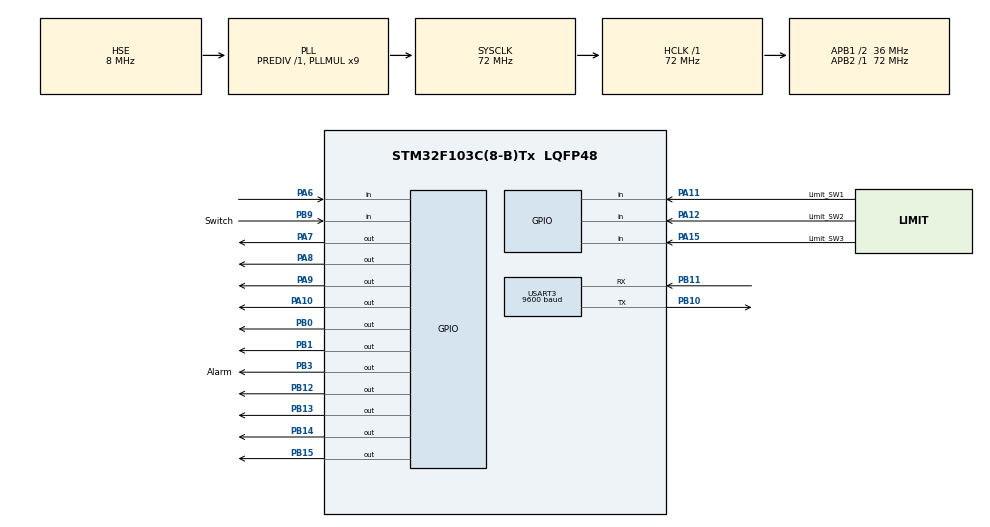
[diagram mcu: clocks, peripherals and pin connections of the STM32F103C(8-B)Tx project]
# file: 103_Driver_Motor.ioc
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FREERTOS.Tasks01=defaultTask,0,128,StartDefaultTask,Default,NULL,Dynamic,NULL,NULL
Mcu.Family=STM32F1
Mcu.Name=STM32F103C(8-B)Tx
Mcu.Package=LQFP48
NVIC.PriorityGroup=NVIC_PRIORITYGROUP_4
PA10.Signal=GPIO_Output
PA11.GPIO_Label=Limit_SW1
PA11.GPIO_PuPd=GPIO_PULLUP
PA11.Signal=GPIO_Input
PA12.GPIO_Label=Limit_SW2
PA12.GPIO_PuPd=GPIO_PULLUP
PA12.Signal=GPIO_Input
PA13.Mode=Serial_Wire
PA13.Signal=SYS_JTMS-SWDIO
PA14.Mode=Serial_Wire
PA14.Signal=SYS_JTCK-SWCLK
PA15.GPIO_Label=Limit_SW3
PA15.GPIO_PuPd=GPIO_PULLUP
PA15.Signal=GPIO_Input
PA6.Signal=GPIO_Input
PA7.Signal=GPIO_Output
PA8.Signal=GPIO_Output
PA9.Signal=GPIO_Output
PB0.Signal=GPIO_Output
PB1.Signal=GPIO_Output
PB10.Mode=Asynchronous
PB10.Signal=USART3_TX
PB11.Mode=Asynchronous
PB11.Signal=USART3_RX
PB12.Signal=GPIO_Output
PB13.Signal=GPIO_Output
PB14.Signal=GPIO_Output
PB15.Signal=GPIO_Output
PB3.GPIO_Label=Alarm
PB3.Signal=GPIO_Output
PB9.GPIO_Label=Switch
PB9.Signal=GPIO_Input
PD0-OSC_IN.Mode=HSE-External-Oscillator
PD0-OSC_IN.Signal=RCC_OSC_IN
PD1-OSC_OUT.Mode=HSE-External-Oscillator
PD1-OSC_OUT.Signal=RCC_OSC_OUT
ProjectManager.HeapSize=0x200
ProjectManager.StackSize=0x400
ProjectManager.TargetToolchain=STM32CubeIDE
RCC.AHBFreq_Value=72000000
RCC.APB1CLKDivider=RCC_HCLK_DIV2
RCC.APB1Freq_Value=36000000
RCC.APB1TimFreq_Value=72000000
RCC.APB2Freq_Value=72000000
RCC.APB2TimFreq_Value=72000000
RCC.HCLKFreq_Value=72000000
RCC.PLLMUL=RCC_PLL_MUL9
RCC.PLLSourceVirtual=RCC_PLLSOURCE_HSE
RCC.SYSCLKFreq_VALUE=72000000
RCC.SYSCLKSource=RCC_SYSCLKSOURCE_PLLCLK
RCC.USBFreq_Value=72000000
USART3.BaudRate=9600
USART3.VirtualMode=VM_ASYNC
VP_FREERTOS_VS_CMSIS_V1.Mode=CMSIS_V1
board=custom

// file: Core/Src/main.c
/* USER CODE BEGIN Header */
/**
  ******************************************************************************
  * @file           : main.c
  * @brief          : Main program body
  ******************************************************************************
  * @attention
  *
  * Copyright (c) 2023 STMicroelectronics.
  * All rights reserved.
  *
  * This software is licensed under terms that can be found in the LICENSE file
  * in the root directory of this software component.
  * If no LICENSE file comes with this software, it is provided AS-IS.
  *
  ******************************************************************************
  */
/* USER CODE END Header */
#include "main.h"
#include "cmsis_os.h"

/* USER CODE BEGIN Includes */
#include <stdio.h>
#include <string.h>
#include "FreeRTOS.h"
#include "task.h"
#include "semphr.h"
/* USER CODE END Includes */

/* USER CODE BEGIN PTD */
#define MOTOR_EN_GPIO_PIN  GPIO_PIN_7
#define MOTOR_EN_GPIO_PORT GPIOA
#define MOTOR_IN1_GPIO_PIN GPIO_PIN_1
#define MOTOR_IN1_GPIO_PORT GPIOB
#define MOTOR_IN2_GPIO_PIN GPIO_PIN_0
#define MOTOR_IN2_GPIO_PORT GPIOB
#define PWM_FREQUENCY 1000 // 1 kHz
#define PWM_PERIOD    100  // 100 us
/* USER CODE END PTD */

UART_HandleTypeDef huart3;

osThreadId defaultTaskHandle;
/* USER CODE BEGIN PV */
SemaphoreHandle_t xSemaphore1;
SemaphoreHandle_t xSemaphore2;
SemaphoreHandle_t xSemaphore3;
uint8_t limitSW_State_Open;
uint8_t limitSW_State_Close;
/* USER CODE END PV */

void SystemClock_Config(void);
static void MX_GPIO_Init(void);
static void MX_USART3_UART_Init(void);
void StartDefaultTask(void const * argument);

/* USER CODE BEGIN PFP */
void HAL_UART_Read_String(UART_HandleTypeDef *huart, char *str, uint8_t size);
void BT_RX(void *pvParameters);
void EN_Motor(void *pvParameters);
void Moving(void *pvParameters);
/* USER CODE END PFP */

/* USER CODE BEGIN 0 */
char message_rx[20];
char message_tx[20];
/* USER CODE END 0 */

int main(void)
{

  /* MCU Configuration--------------------------------------------------------*/

  /* Reset of all peripherals, Initializes the Flash interface and the Systick. */
  HAL_Init();

  /* Configure the system clock */
  SystemClock_Config();

  /* Initialize all configured peripherals */
  MX_GPIO_Init();
  MX_USART3_UART_Init();
  /* USER CODE BEGIN 2 */
  // Configure motor control pins as GPIO outputs
    GPIO_InitTypeDef GPIO_InitStruct;
    __HAL_RCC_GPIOA_CLK_ENABLE(); // Enable GPIOA clock
    GPIO_InitStruct.Pin = MOTOR_EN_GPIO_PIN | MOTOR_IN1_GPIO_PIN | MOTOR_IN2_GPIO_PIN;
    GPIO_InitStruct.Mode = GPIO_MODE_OUTPUT_PP;
    GPIO_InitStruct.Pull = GPIO_NOPULL;
    GPIO_InitStruct.Speed = GPIO_SPEED_FREQ_LOW;
    HAL_GPIO_Init(MOTOR_EN_GPIO_PORT, &GPIO_InitStruct);

    // 7 segments
    HAL_GPIO_WritePin(GPIOA, GPIO_PIN_10, 1);
    HAL_GPIO_WritePin(GPIOA, GPIO_PIN_9, 0);
    HAL_GPIO_WritePin(GPIOA, GPIO_PIN_8, 0);
    HAL_GPIO_WritePin(GPIOB, GPIO_PIN_12, 1);
    HAL_GPIO_WritePin(GPIOB, GPIO_PIN_13, 1);
    HAL_GPIO_WritePin(GPIOB, GPIO_PIN_14, 1);
    HAL_GPIO_WritePin(GPIOB, GPIO_PIN_15, 1);
  /* USER CODE END 2 */

  /* USER CODE BEGIN RTOS_SEMAPHORES */
  /* add semaphores, ... */
    xSemaphore1 = xSemaphoreCreateBinary();
    xSemaphore2 = xSemaphoreCreateBinary();
    xSemaphore3 = xSemaphoreCreateBinary();
    xSemaphoreGive(xSemaphore1);
  /* USER CODE END RTOS_SEMAPHORES */

  /* Create the thread(s) */
  /* definition and creation of defaultTask */
  osThreadDef(defaultTask, StartDefaultTask, osPriorityNormal, 0, 128);
  defaultTaskHandle = osThreadCreate(osThread(defaultTask), NULL);

  /* USER CODE BEGIN RTOS_THREADS */
  /* add threads, ... */
  xTaskCreate((void *)BT_RX, "BT_RX", configMINIMAL_STACK_SIZE, NULL, tskIDLE_PRIORITY + 1, NULL);
  xTaskCreate((void *)EN_Motor, "EN_Motor", configMINIMAL_STACK_SIZE, NULL, tskIDLE_PRIORITY + 1, NULL);
  xTaskCreate((void *)Moving, "Moving", configMINIMAL_STACK_SIZE, NULL, tskIDLE_PRIORITY + 1, NULL);
  vTaskStartScheduler();
  /* USER CODE END RTOS_THREADS */

  /* Start scheduler */
  //osKernelStart();
  /* We should never get here as control is now taken by the scheduler */
  /* Infinite loop */
  while (1)
  {

  }
}

void SystemClock_Config(void)
{
  RCC_OscInitTypeDef RCC_OscInitStruct = {0};
  RCC_ClkInitTypeDef RCC_ClkInitStruct = {0};

  /** Initializes the RCC Oscillators according to the specified parameters
  * in the RCC_OscInitTypeDef structure.
  */
  RCC_OscInitStruct.OscillatorType = RCC_OSCILLATORTYPE_HSE;
  RCC_OscInitStruct.HSEState = RCC_HSE_ON;
  RCC_OscInitStruct.HSEPredivValue = RCC_HSE_PREDIV_DIV1;
  RCC_OscInitStruct.HSIState = RCC_HSI_ON;
  RCC_OscInitStruct.PLL.PLLState = RCC_PLL_ON;
  RCC_OscInitStruct.PLL.PLLSource = RCC_PLLSOURCE_HSE;
  RCC_OscInitStruct.PLL.PLLMUL = RCC_PLL_MUL9;
  if (HAL_RCC_OscConfig(&RCC_OscInitStruct) != HAL_OK)
  {
    Error_Handler();
  }

  /** Initializes the CPU, AHB and APB buses clocks
  */
  RCC_ClkInitStruct.ClockType = RCC_CLOCKTYPE_HCLK|RCC_CLOCKTYPE_SYSCLK
                              |RCC_CLOCKTYPE_PCLK1|RCC_CLOCKTYPE_PCLK2;
  RCC_ClkInitStruct.SYSCLKSource = RCC_SYSCLKSOURCE_PLLCLK;
  RCC_ClkInitStruct.AHBCLKDivider = RCC_SYSCLK_DIV1;
  RCC_ClkInitStruct.APB1CLKDivider = RCC_HCLK_DIV2;
  RCC_ClkInitStruct.APB2CLKDivider = RCC_HCLK_DIV1;

  if (HAL_RCC_ClockConfig(&RCC_ClkInitStruct, FLASH_LATENCY_2) != HAL_OK)
  {
    Error_Handler();
  }
}

static void MX_USART3_UART_Init(void)
{

  huart3.Instance = USART3;
  huart3.Init.BaudRate = 9600;
  huart3.Init.WordLength = UART_WORDLENGTH_8B;
  huart3.Init.StopBits = UART_STOPBITS_1;
  huart3.Init.Parity = UART_PARITY_NONE;
  huart3.Init.Mode = UART_MODE_TX_RX;
  huart3.Init.HwFlowCtl = UART_HWCONTROL_NONE;
  huart3.Init.OverSampling = UART_OVERSAMPLING_16;
  if (HAL_UART_Init(&huart3) != HAL_OK)
  {
    Error_Handler();
  }

}

static void MX_GPIO_Init(void)
{
  GPIO_InitTypeDef GPIO_InitStruct = {0};

  /* GPIO Ports Clock Enable */
  __HAL_RCC_GPIOD_CLK_ENABLE();
  __HAL_RCC_GPIOA_CLK_ENABLE();
  __HAL_RCC_GPIOB_CLK_ENABLE();

  /*Configure GPIO pin Output Level */
  HAL_GPIO_WritePin(GPIOA, GPIO_PIN_7|GPIO_PIN_8|GPIO_PIN_9|GPIO_PIN_10, GPIO_PIN_RESET);

  /*Configure GPIO pin Output Level */
  HAL_GPIO_WritePin(GPIOB, GPIO_PIN_0|GPIO_PIN_1|GPIO_PIN_12|GPIO_PIN_13
                          |GPIO_PIN_14|GPIO_PIN_15|Alarm_Pin, GPIO_PIN_RESET);

  /*Configure GPIO pin : PA6 */
  GPIO_InitStruct.Pin = GPIO_PIN_6;
  GPIO_InitStruct.Mode = GPIO_MODE_INPUT;
  GPIO_InitStruct.Pull = GPIO_NOPULL;
  HAL_GPIO_Init(GPIOA, &GPIO_InitStruct);

  /*Configure GPIO pins : PA7 PA8 PA9 PA10 */
  GPIO_InitStruct.Pin = GPIO_PIN_7|GPIO_PIN_8|GPIO_PIN_9|GPIO_PIN_10;
  GPIO_InitStruct.Mode = GPIO_MODE_OUTPUT_PP;
  GPIO_InitStruct.Pull = GPIO_NOPULL;
  GPIO_InitStruct.Speed = GPIO_SPEED_FREQ_LOW;
  HAL_GPIO_Init(GPIOA, &GPIO_InitStruct);

  /*Configure GPIO pins : PB0 PB1 PB12 PB13
                           PB14 PB15 Alarm_Pin */
  GPIO_InitStruct.Pin = GPIO_PIN_0|GPIO_PIN_1|GPIO_PIN_12|GPIO_PIN_13
                          |GPIO_PIN_14|GPIO_PIN_15|Alarm_Pin;
  GPIO_InitStruct.Mode = GPIO_MODE_OUTPUT_PP;
  GPIO_InitStruct.Pull = GPIO_NOPULL;
  GPIO_InitStruct.Speed = GPIO_SPEED_FREQ_LOW;
  HAL_GPIO_Init(GPIOB, &GPIO_InitStruct);

  /*Configure GPIO pins : Limit_SW1_Pin Limit_SW2_Pin Limit_SW3_Pin */
  GPIO_InitStruct.Pin = Limit_SW1_Pin|Limit_SW2_Pin|Limit_SW3_Pin;
  GPIO_InitStruct.Mode = GPIO_MODE_INPUT;
  GPIO_InitStruct.Pull = GPIO_PULLUP;
  HAL_GPIO_Init(GPIOA, &GPIO_InitStruct);

  /*Configure GPIO pin : Switch_Pin */
  GPIO_InitStruct.Pin = Switch_Pin;
  GPIO_InitStruct.Mode = GPIO_MODE_INPUT;
  GPIO_InitStruct.Pull = GPIO_NOPULL;
  HAL_GPIO_Init(Switch_GPIO_Port, &GPIO_InitStruct);

}

/* USER CODE BEGIN 4 */
// Tarea 1
void BT_RX(void *pvParameters) {
  while (1) {
	xSemaphoreTake(xSemaphore1, portMAX_DELAY);
	HAL_UART_Read_String(&huart3, message_rx, 20);
	sprintf(message_tx,"motor_R\r\n");
	HAL_UART_Transmit(&huart3, (uint8_t*)message_tx,strlen(message_tx), HAL_MAX_DELAY);
    xSemaphoreGive(xSemaphore2);
  }
}

// Tarea 2
void EN_Motor(void *pvParameters) {
  while (1) {
    xSemaphoreTake(xSemaphore2, portMAX_DELAY);
	HAL_GPIO_WritePin(MOTOR_EN_GPIO_PORT, MOTOR_EN_GPIO_PIN, GPIO_PIN_SET);

	HAL_GPIO_WritePin(MOTOR_IN1_GPIO_PORT, MOTOR_IN1_GPIO_PIN, GPIO_PIN_RESET);
	HAL_GPIO_WritePin(MOTOR_IN2_GPIO_PORT, MOTOR_IN2_GPIO_PIN, GPIO_PIN_RESET);

	limitSW_State_Open = HAL_GPIO_ReadPin(Limit_SW2_GPIO_Port, Limit_SW2_Pin);
	limitSW_State_Close = HAL_GPIO_ReadPin(Limit_SW3_GPIO_Port, Limit_SW3_Pin);
    xSemaphoreGive(xSemaphore3);
  }
}

// Tarea 3
void Moving(void *pvParameters) {
  while (1) {
    xSemaphoreTake(xSemaphore3, portMAX_DELAY);
	if(limitSW_State_Open == 0){
		if(!strcmp(message_rx, "Open")){
			while(limitSW_State_Close == 1){
				HAL_GPIO_WritePin(MOTOR_IN1_GPIO_PORT, MOTOR_IN1_GPIO_PIN, GPIO_PIN_SET);
				HAL_GPIO_WritePin(MOTOR_IN2_GPIO_PORT, MOTOR_IN2_GPIO_PIN, GPIO_PIN_RESET);
				limitSW_State_Close = HAL_GPIO_ReadPin(Limit_SW3_GPIO_Port, Limit_SW3_Pin);
			}
		}
	}
	if(limitSW_State_Close == 0){
		if(!strcmp(message_rx, "Close")){
			while(limitSW_State_Open == 1){
				HAL_GPIO_WritePin(MOTOR_IN1_GPIO_PORT, MOTOR_IN1_GPIO_PIN, GPIO_PIN_RESET);
				HAL_GPIO_WritePin(MOTOR_IN2_GPIO_PORT, MOTOR_IN2_GPIO_PIN, GPIO_PIN_SET);
				limitSW_State_Open = HAL_GPIO_ReadPin(Limit_SW2_GPIO_Port, Limit_SW2_Pin);
			}
		}
	}
	// Disable motor
	HAL_GPIO_WritePin(MOTOR_EN_GPIO_PORT, MOTOR_EN_GPIO_PIN, GPIO_PIN_RESET);
    xSemaphoreGive(xSemaphore1);
  }
}
void HAL_UART_Read_String(UART_HandleTypeDef *huart, char *str, uint8_t size){
	char caracter[1];
	uint8_t cont_rx = 0;
	do{
		HAL_UART_Receive(huart, (uint8_t*)caracter, 1, HAL_MAX_DELAY);
		str[cont_rx++] = (char)caracter[0];
		if(cont_rx >= size) break;
	}while(caracter[0] != '\n');
	str[cont_rx-2] = '\0';
	cont_rx = 0;
}
/* USER CODE END 4 */

void StartDefaultTask(void const * argument)
{
  for(;;)
  {
    osDelay(1);
  }
}

void Error_Handler(void)
{
  __disable_irq();
  while (1)
  {
  }
}
